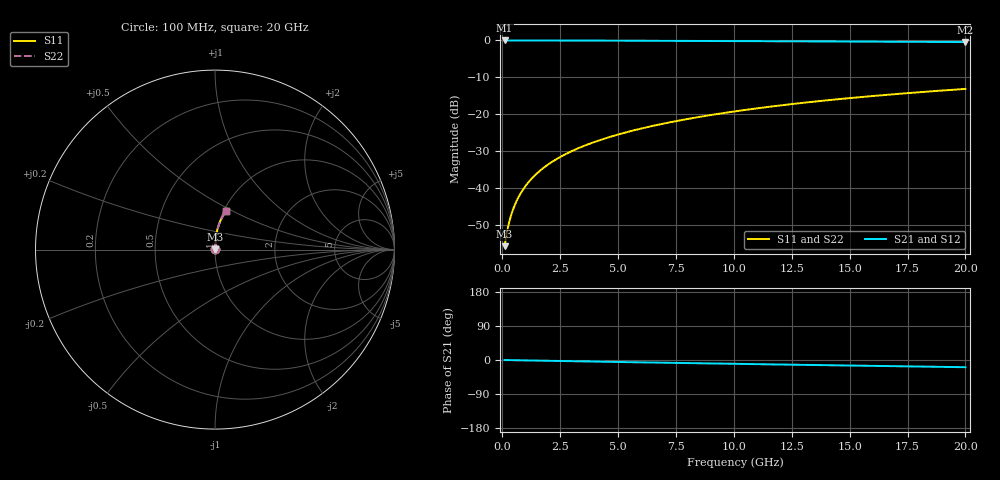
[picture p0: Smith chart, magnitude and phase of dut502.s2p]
! Touchstone file exported from HFSS 2024.1.0
!  File:  C:/UserFiles/LocalFiles/RDL_TSV_Batchsim/temp_RDL_bottom_502_1779687322.aedt
!  Generated:  01:37:40 PM May 25, 2026
!  Design:  RDL_bottom
!  Project:  temp_RDL_bottom_502_1779687322
!  Setup:  Setup1
!  Solution:  Sweep
! Variables:
!  dtsv = 10.80580581um
!  hbump = 3um
!  htsv = 86.93um
!  ldown = 230.37um
!  lrdl = 100um
!  p = 40
!  p1 = 48.69um
!  rhole = 1um
!  t = 450um
!  tdown = 4.46um
!  trdl = 3.915915916um
!  wdown = 17.23um
!  wrdl = 20um
# GHz S MA R 50.000000
! Terminal data exported
! Port[1] = RDL1_T1
! Port[2] = RDL1_T2
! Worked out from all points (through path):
!   200 points, 100 MHz to 20 GHz, reference 50 ohm
!   highest |S21| = -0.01 dB at 100 MHz (marker M1); lowest = -0.4 dB at 20 GHz (marker M2)
!   group delay of S21, straight-line fit = 2.62 ps
!   lowest |S11| = -55.7 dB at 100 MHz (marker M3), VSWR 1.00, Z = 50.1 + j0.112 ohm
!   |S11| at or under -10 dB: start of sweep to end of sweep
!   |S22| runs from -55.7 to -13.1 dB; largest |S21 - S12| = 2.6e-15
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0.1  0.001642 42.7  0.9988 -0.1  0.9988 -0.1  0.001642 42.7
! Gamma 0 0 0 0
! Port Impedance 50 0 50 0
0.2  0.002531 60.4  0.9987 -0.2  0.9987 -0.2  0.002531 60.4
0.3  0.003508 68.3  0.9987 -0.3  0.9987 -0.3  0.003508 68.3
0.4  0.004509 72.8  0.9986 -0.4  0.9986 -0.4  0.004509 72.8
0.5  0.005522 75.7  0.9986 -0.5  0.9986 -0.5  0.005522 75.7
0.6  0.006542 77.8  0.9985 -0.7  0.9985 -0.7  0.006542 77.8
0.8  0.008601 80.5  0.9984 -0.9  0.9984 -0.9  0.008601 80.5
1.1  0.01172 82.7  0.9982 -1.2  0.9982 -1.2  0.01172 82.7
1.5  0.0159 84.3  0.9979 -1.6  0.9979 -1.6  0.0159 84.3
1.8  0.01905 85.0  0.9976 -1.9  0.9976 -1.9  0.01905 85.0
2.1  0.02221 85.5  0.9973 -2.2  0.9973 -2.2  0.02221 85.5
2.7  0.02856 86.0  0.9965 -2.9  0.9965 -2.9  0.02856 86.0
3.5  0.03707 86.3  0.9952 -3.7  0.9952 -3.7  0.03707 86.3
4.2  0.04458 86.3  0.9939 -4.4  0.9939 -4.4  0.04458 86.3
5  0.05324 86.2  0.9922 -5.2  0.9922 -5.2  0.05324 86.2
5.9  0.06309 85.9  0.9901 -6.1  0.9901 -6.1  0.06309 85.9
6.8  0.07304 85.5  0.9879 -7.0  0.9879 -7.0  0.07304 85.5
8.4  0.09095 84.6  0.9838 -8.6  0.9838 -8.6  0.09095 84.6
10.1  0.1102 83.4  0.9793 -10.2  0.9793 -10.2  0.1102 83.4
13.4  0.1477 80.6  0.9701 -13.2  0.9701 -13.2  0.1477 80.6
16.7  0.1847 77.6  0.9605 -16.1  0.9605 -16.1  0.1847 77.6
20  0.2206 74.5  0.9504 -19.0  0.9504 -19.0  0.2206 74.5
